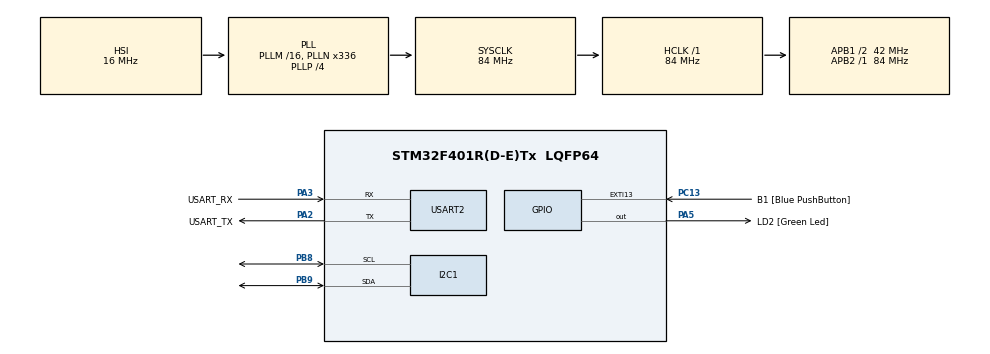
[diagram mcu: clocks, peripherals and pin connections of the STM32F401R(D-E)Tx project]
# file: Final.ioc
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Mcu.Family=STM32F4
Mcu.Name=STM32F401R(D-E)Tx
Mcu.Package=LQFP64
NVIC.PriorityGroup=NVIC_PRIORITYGROUP_0
NVIC.TIM3_IRQn=true\:0\:0\:false\:false\:true\:true\:true\:true
PA13.GPIO_Label=TMS
PA13.Mode=Serial_Wire
PA13.Signal=SYS_JTMS-SWDIO
PA14.GPIO_Label=TCK
PA14.Mode=Serial_Wire
PA14.Signal=SYS_JTCK-SWCLK
PA2.GPIO_Label=USART_TX
PA2.GPIO_Mode=GPIO_MODE_AF_PP
PA2.GPIO_PuPd=GPIO_NOPULL
PA2.GPIO_Speed=GPIO_SPEED_FREQ_LOW
PA2.Mode=Asynchronous
PA2.Signal=USART2_TX
PA3.GPIO_Label=USART_RX
PA3.GPIO_Mode=GPIO_MODE_AF_PP
PA3.GPIO_PuPd=GPIO_NOPULL
PA3.GPIO_Speed=GPIO_SPEED_FREQ_LOW
PA3.Mode=Asynchronous
PA3.Signal=USART2_RX
PA5.GPIO_Label=LD2 [Green Led]
PA5.GPIO_Mode=GPIO_MODE_OUTPUT_PP
PA5.GPIO_PuPd=GPIO_NOPULL
PA5.GPIO_Speed=GPIO_SPEED_FREQ_LOW
PA5.Signal=GPIO_Output
PB3.GPIO_Label=SWO
PB3.Signal=SYS_JTDO-SWO
PB8.Mode=I2C
PB8.Signal=I2C1_SCL
PB9.Mode=I2C
PB9.Signal=I2C1_SDA
PC13-ANTI_TAMP.GPIO_Label=B1 [Blue PushButton]
PC13-ANTI_TAMP.GPIO_ModeDefaultEXTI=GPIO_MODE_IT_FALLING
PC13-ANTI_TAMP.GPIO_PuPd=GPIO_NOPULL
PC13-ANTI_TAMP.Signal=GPXTI13
PC14-OSC32_IN.Mode=LSE-External-Oscillator
PC14-OSC32_IN.Signal=RCC_OSC32_IN
PC15-OSC32_OUT.Mode=LSE-External-Oscillator
PC15-OSC32_OUT.Signal=RCC_OSC32_OUT
PH0\ -\ OSC_IN.Mode=HSE-External-Clock-Source
PH0\ -\ OSC_IN.Signal=RCC_OSC_IN
PH1\ -\ OSC_OUT.Mode=HSE-External-Clock-Source
PH1\ -\ OSC_OUT.Signal=RCC_OSC_OUT
ProjectManager.HeapSize=0x200
ProjectManager.StackSize=0x400
ProjectManager.TargetToolchain=STM32CubeIDE
RCC.48MHZClocksFreq_Value=48000000
RCC.AHBFreq_Value=84000000
RCC.APB1CLKDivider=RCC_HCLK_DIV2
RCC.APB1Freq_Value=42000000
RCC.APB1TimFreq_Value=84000000
RCC.APB2Freq_Value=84000000
RCC.APB2TimFreq_Value=84000000
RCC.CortexFreq_Value=84000000
RCC.HCLKFreq_Value=84000000
RCC.HSE_VALUE=8000000
RCC.HSI_VALUE=16000000
RCC.PLLN=336
RCC.PLLP=RCC_PLLP_DIV4
RCC.PLLQ=7
RCC.SYSCLKFreq_VALUE=84000000
RCC.SYSCLKSource=RCC_SYSCLKSOURCE_PLLCLK
RCC.VCOOutputFreq_Value=336000000
TIM3.AutoReloadPreload=TIM_AUTORELOAD_PRELOAD_ENABLE
TIM3.Period=5000
TIM3.Prescaler=16800
USART2.VirtualMode=VM_ASYNC
VP_TIM3_VS_ClockSourceINT.Mode=Internal
board=NUCLEO-F401RE

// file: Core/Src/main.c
/* USER CODE BEGIN Header */
/**
  ******************************************************************************
  * @file           : main.c
  * @brief          : Main program body
  ******************************************************************************
  * @attention
  *
  * Copyright (c) 2022 STMicroelectronics.
  * All rights reserved.
  *
  * This software is licensed under terms that can be found in the LICENSE file
  * in the root directory of this software component.
  * If no LICENSE file comes with this software, it is provided AS-IS.
  *
  ******************************************************************************
  */
/* USER CODE END Header */
#include "main.h"

/* USER CODE BEGIN Includes */

#include "mlx90614.h"
#include <stdio.h>
#include <string.h>
#include "BH1750.h"
#include "sht3x.h"

/* USER CODE END Includes */

/* USER CODE BEGIN PM */

#define BH1750_COUNTER 5
#define MLX90614_COUNTER 5
#define SHT31_COUNTER 5

/* USER CODE END PM */

I2C_HandleTypeDef hi2c1;

TIM_HandleTypeDef htim3;

UART_HandleTypeDef huart2;

/* USER CODE BEGIN PV */
/* unit16_t is unassigned 16 bit integer variable to hold timer value ; bool datatype used to represent boolian functions like true, false*/
uint16_t SHT31_counter = SHT31_COUNTER;
bool SHT31_counter_timeout_flag = false;
uint16_t BH1750_counter = BH1750_COUNTER;
bool BH1750_counter_timeout_flag = false;
uint16_t MLX90614_counter = MLX90614_COUNTER;
bool  MLX90614_counter_timeout_flag = false;

/* we have assigned handle value to sht31d */
/* sht3x_handle_t is a user defined datatype*/
sht3x_handle_t sht31d;
/* USER CODE END PV */

void SystemClock_Config(void);
static void MX_GPIO_Init(void);
static void MX_USART2_UART_Init(void);
static void MX_I2C1_Init(void);
static void MX_TIM3_Init(void);
/* USER CODE BEGIN PFP */

static void scan_I2C_bus(uint8_t bus);
static void printUART(char string[]);

/* USER CODE END PFP */

/* USER CODE BEGIN 0 */

	     /*A hardware abstraction layer (HAL) is a programming or code layer that
	      allows for more broad communication between software and hardware in a system.
	      HAL function to call back timer; gets called whenever timer overflow occurs *//*
		 * Calls when Timer period is reached T = 0.1s
		 */
void HAL_TIM_PeriodElapsedCallback(TIM_HandleTypeDef* htim) {
		if(--BH1750_counter == 0) {
			//BH1750 Handler
			BH1750_counter_timeout_flag = true;
			BH1750_counter = BH1750_COUNTER;
		}
		if(--SHT31_counter == 0) {
			//SHT31 Handler
			SHT31_counter_timeout_flag = true;
			SHT31_counter = SHT31_COUNTER;
		}
		if(--MLX90614_counter == 0) {
			//MLX90614 Handler
			MLX90614_counter_timeout_flag = true;
			MLX90614_counter = MLX90614_COUNTER;
		}
}
/* USER CODE END 0 */

int main(void)
{
  /* USER CODE BEGIN 1 */

	/* defining uart buffer of 128 buffer length and stored in 32 bit uart buffer */

	 char uart_buf[128] = {'\0'};
	 uint32_t uart_buf_len;

  /* USER CODE END 1 */

  /* MCU Configuration--------------------------------------------------------*/

  /* Reset of all peripherals, Initializes the Flash interface and the Systick. */
  HAL_Init();

  /* Configure the system clock */
  SystemClock_Config();

  /* Initialize all configured peripherals */
  MX_GPIO_Init();
  MX_USART2_UART_Init();
  MX_I2C1_Init();
  MX_TIM3_Init();
  /* USER CODE BEGIN 2 */
  float temp_obj1, temp_amb, light, sht31_temp, sht31_humidity;

  /* HAL timer interuppt start */

  HAL_TIM_Base_Start_IT(&htim3);

   scan_I2C_bus(1);

   MLX90614_Init(&hi2c1);
   BH1750_Init(&hi2c1);
   BH1750_SetMode(CONTINUOUS_HIGH_RES_MODE_2);
   sht31d.i2c_handle = &hi2c1;
   sht31d.device_address = (uint16_t)SHT3X_I2C_DEVICE_ADDRESS_ADDR_PIN_LOW;
   sht3x_init(&sht31d);

  /* USER CODE END 2 */

  /* Infinite loop */
  /* USER CODE BEGIN WHILE */
  while (1)
  {

	  //	  timer_val = __HAL_TIM_GET_COUNTER(&htim3);
	  //	  HAL_Delay(2000);
	  //	  timer_val = __HAL_TIM_GET_COUNTER(&htim3) - timer_val;
	  //	  uart_buf_len = sprintf(uart_buf, "%u us\r\n", timer_val);
	  //	  HAL_UART_Transmit(&huart2, (uint8_t *)uart_buf, uart_buf_len, 100);

	  	  if(BH1750_counter_timeout_flag) {
	  		  //trigger BH1750 read

	  		  BH1750_counter_timeout_flag = 0;

	  		  BH1750_ReadLight(&light);

	  		  uart_buf_len = sprintf(uart_buf, "Light: %.2f\r\n", light);
	  		  HAL_UART_Transmit(&huart2, uart_buf, uart_buf_len, 100);
	  		  memset(uart_buf, 0, sizeof(uart_buf));
	  	  }

	  	  if(SHT31_counter_timeout_flag) {
	  		  //trigger BH1750 read

	  		  SHT31_counter_timeout_flag = 0;

	  		  sht3x_read_temperature_and_humidity(&sht31d, &(sht31_temp), &(sht31_humidity) );

	  		  uart_buf_len = sprintf(uart_buf, "Temperature: %0.2f and Humidity: %.2f\r\n", sht31_temp, sht31_humidity);
	  		  HAL_UART_Transmit(&huart2, (uint8_t *)uart_buf, uart_buf_len, 100);
	  		  memset(uart_buf, 0, sizeof(uart_buf));
	  		  // buffer memory reset
	  	  }

	  	  if(MLX90614_counter_timeout_flag) {
	  		  //trigger MLX90614 read

	  		  MLX90614_counter_timeout_flag = 0;

	  		  temp_obj1 = MLX90614_ReadTObj1();
	  		  HAL_Delay(5);
	  		  temp_amb = MLX90614_ReadTAmb();

	  		  uart_buf_len = sprintf(uart_buf, "IR Sensor: T obj1: %.2f, T amb: %.2f\r\n", temp_obj1, temp_amb);
	  		  HAL_UART_Transmit(&huart2, uart_buf, uart_buf_len, 100);
	  		  memset(uart_buf, 0, sizeof(uart_buf));
	  	  }

    /* USER CODE END WHILE */

  }
}

void SystemClock_Config(void)
{
  RCC_OscInitTypeDef RCC_OscInitStruct = {0};
  RCC_ClkInitTypeDef RCC_ClkInitStruct = {0};

  /** Configure the main internal regulator output voltage
  */
  __HAL_RCC_PWR_CLK_ENABLE();
  __HAL_PWR_VOLTAGESCALING_CONFIG(PWR_REGULATOR_VOLTAGE_SCALE2);

  /** Initializes the RCC Oscillators according to the specified parameters
  * in the RCC_OscInitTypeDef structure.
  */
  RCC_OscInitStruct.OscillatorType = RCC_OSCILLATORTYPE_HSI;
  RCC_OscInitStruct.HSIState = RCC_HSI_ON;
  RCC_OscInitStruct.HSICalibrationValue = RCC_HSICALIBRATION_DEFAULT;
  RCC_OscInitStruct.PLL.PLLState = RCC_PLL_ON;
  RCC_OscInitStruct.PLL.PLLSource = RCC_PLLSOURCE_HSI;
  RCC_OscInitStruct.PLL.PLLM = 16;
  RCC_OscInitStruct.PLL.PLLN = 336;
  RCC_OscInitStruct.PLL.PLLP = RCC_PLLP_DIV4;
  RCC_OscInitStruct.PLL.PLLQ = 7;
  if (HAL_RCC_OscConfig(&RCC_OscInitStruct) != HAL_OK)
  {
    Error_Handler();
  }

  /** Initializes the CPU, AHB and APB buses clocks
  */
  RCC_ClkInitStruct.ClockType = RCC_CLOCKTYPE_HCLK|RCC_CLOCKTYPE_SYSCLK
                              |RCC_CLOCKTYPE_PCLK1|RCC_CLOCKTYPE_PCLK2;
  RCC_ClkInitStruct.SYSCLKSource = RCC_SYSCLKSOURCE_PLLCLK;
  RCC_ClkInitStruct.AHBCLKDivider = RCC_SYSCLK_DIV1;
  RCC_ClkInitStruct.APB1CLKDivider = RCC_HCLK_DIV2;
  RCC_ClkInitStruct.APB2CLKDivider = RCC_HCLK_DIV1;

  if (HAL_RCC_ClockConfig(&RCC_ClkInitStruct, FLASH_LATENCY_2) != HAL_OK)
  {
    Error_Handler();
  }
}

static void MX_I2C1_Init(void)
{

  hi2c1.Instance = I2C1;
  hi2c1.Init.ClockSpeed = 100000;
  hi2c1.Init.DutyCycle = I2C_DUTYCYCLE_2;
  hi2c1.Init.OwnAddress1 = 0;
  hi2c1.Init.AddressingMode = I2C_ADDRESSINGMODE_7BIT;
  hi2c1.Init.DualAddressMode = I2C_DUALADDRESS_DISABLE;
  hi2c1.Init.OwnAddress2 = 0;
  hi2c1.Init.GeneralCallMode = I2C_GENERALCALL_DISABLE;
  hi2c1.Init.NoStretchMode = I2C_NOSTRETCH_DISABLE;
  if (HAL_I2C_Init(&hi2c1) != HAL_OK)
  {
    Error_Handler();
  }

}

static void MX_TIM3_Init(void)
{

  TIM_ClockConfigTypeDef sClockSourceConfig = {0};
  TIM_MasterConfigTypeDef sMasterConfig = {0};

  htim3.Instance = TIM3;
  htim3.Init.Prescaler = 16800;
  htim3.Init.CounterMode = TIM_COUNTERMODE_UP;
  htim3.Init.Period = 5000;
  htim3.Init.ClockDivision = TIM_CLOCKDIVISION_DIV1;
  htim3.Init.AutoReloadPreload = TIM_AUTORELOAD_PRELOAD_ENABLE;
  if (HAL_TIM_Base_Init(&htim3) != HAL_OK)
  {
    Error_Handler();
  }
  sClockSourceConfig.ClockSource = TIM_CLOCKSOURCE_INTERNAL;
  if (HAL_TIM_ConfigClockSource(&htim3, &sClockSourceConfig) != HAL_OK)
  {
    Error_Handler();
  }
  sMasterConfig.MasterOutputTrigger = TIM_TRGO_RESET;
  sMasterConfig.MasterSlaveMode = TIM_MASTERSLAVEMODE_DISABLE;
  if (HAL_TIMEx_MasterConfigSynchronization(&htim3, &sMasterConfig) != HAL_OK)
  {
    Error_Handler();
  }

}

static void MX_USART2_UART_Init(void)
{

  huart2.Instance = USART2;
  huart2.Init.BaudRate = 115200;
  huart2.Init.WordLength = UART_WORDLENGTH_8B;
  huart2.Init.StopBits = UART_STOPBITS_1;
  huart2.Init.Parity = UART_PARITY_NONE;
  huart2.Init.Mode = UART_MODE_TX_RX;
  huart2.Init.HwFlowCtl = UART_HWCONTROL_NONE;
  huart2.Init.OverSampling = UART_OVERSAMPLING_16;
  if (HAL_UART_Init(&huart2) != HAL_OK)
  {
    Error_Handler();
  }

}

static void MX_GPIO_Init(void)
{
  GPIO_InitTypeDef GPIO_InitStruct = {0};

  /* GPIO Ports Clock Enable */
  __HAL_RCC_GPIOC_CLK_ENABLE();
  __HAL_RCC_GPIOH_CLK_ENABLE();
  __HAL_RCC_GPIOA_CLK_ENABLE();
  __HAL_RCC_GPIOB_CLK_ENABLE();

  /*Configure GPIO pin Output Level */
  HAL_GPIO_WritePin(LD2_GPIO_Port, LD2_Pin, GPIO_PIN_RESET);

  /*Configure GPIO pin : B1_Pin */
  GPIO_InitStruct.Pin = B1_Pin;
  GPIO_InitStruct.Mode = GPIO_MODE_IT_FALLING;
  GPIO_InitStruct.Pull = GPIO_NOPULL;
  HAL_GPIO_Init(B1_GPIO_Port, &GPIO_InitStruct);

  /*Configure GPIO pin : LD2_Pin */
  GPIO_InitStruct.Pin = LD2_Pin;
  GPIO_InitStruct.Mode = GPIO_MODE_OUTPUT_PP;
  GPIO_InitStruct.Pull = GPIO_NOPULL;
  GPIO_InitStruct.Speed = GPIO_SPEED_FREQ_LOW;
  HAL_GPIO_Init(LD2_GPIO_Port, &GPIO_InitStruct);

}

/* USER CODE BEGIN 4 */

static void scan_I2C_bus(uint8_t bus) {
	HAL_StatusTypeDef result;
	char buf[20];

	for (int i = 0; i<128; i++)
	  {
		  result = HAL_I2C_IsDeviceReady(&hi2c1, (uint16_t) (i<<1), 3, 5);
		  if (result != HAL_OK)
		  {
			  sprintf(buf, "0x%-\r\n");
			  HAL_UART_Transmit(&huart2, buf, sizeof(buf), 100);
			  memset(buf, 0, sizeof(buf));
		  }
		  if (result == HAL_OK)
		  {
			  sprintf(buf, "0x%X\r\n", i);
			  HAL_UART_Transmit(&huart2, buf, sizeof(buf), 100);
			  memset(buf, 0, sizeof(buf));
		  }
	  }
}

/* USER CODE END 4 */

void Error_Handler(void)
{
  __disable_irq();
  while (1)
  {
  }
}
